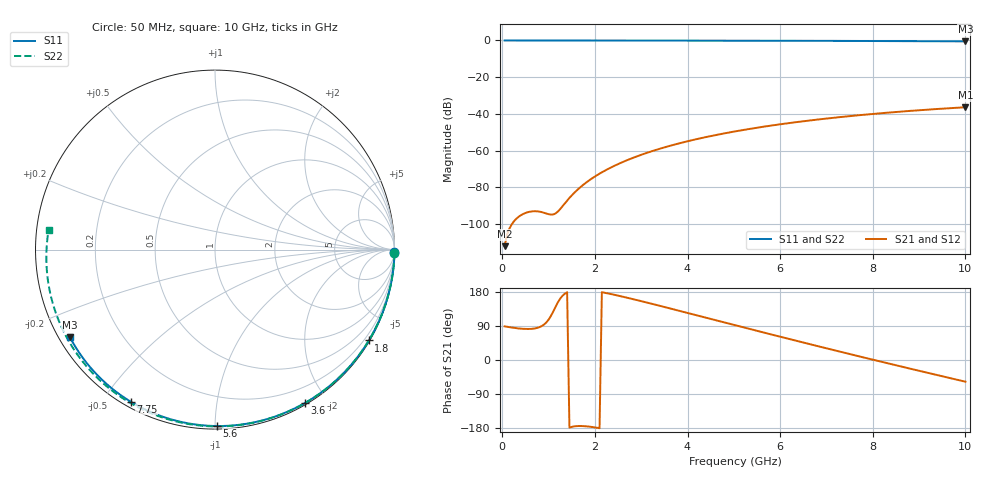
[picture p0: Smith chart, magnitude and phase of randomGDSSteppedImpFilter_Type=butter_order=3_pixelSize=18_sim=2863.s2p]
! freq	dB(S11)	phase(S11)	dB(S12)	phase(S12)
!  dB(S21)	phase(S21)	dB(S22)	phase(S22)
!S-par simulation data
#  GHz  S  DB  R 50
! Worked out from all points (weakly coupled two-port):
!   200 points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, 50 MHz to 10 GHz, reference 50 ohm
!   highest |S21| = -36.41 dB at 10 GHz (marker M1); lowest = -112.1 dB at 50 MHz (marker M2)
!   lowest |S11| = -0.5 dB at 10 GHz (marker M3), VSWR 34.89, Z = 1.54 - j13.9 ohm
!   |S11| at or under -10 dB: nowhere
!   |S22| runs from -0.6 to 0.0 dB; largest |S21 - S12| = 0
!   S11 on the Smith chart (normalised r, x): 50 MHz: open; 1.8 GHz: 0.03, -3.66; 3.6 GHz: 0.02, -1.75; 5.6 GHz: 0.02, -1.01; 7.75 GHz: 0.02, -0.59; 10 GHz: 0.03, -0.28
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0.05  -0.00 -0.9  -112.10 88.9  -112.10 88.9  -0.00 -1.1
0.4  -0.01 -6.9  -95.25 82.7  -95.25 82.7  -0.01 -8.6
0.8  -0.02 -13.7  -93.27 86.6  -93.27 86.6  -0.02 -17.1
1.2  -0.03 -20.5  -93.24 152.1  -93.24 152.1  -0.03 -25.5
1.65  -0.04 -28.1  -80.75 -174.2  -80.75 -174.2  -0.04 -34.8
1.7  -0.04 -28.9  -79.66 -174.2  -79.66 -174.2  -0.05 -35.8
1.75  -0.04 -29.7  -78.62 -174.4  -78.62 -174.4  -0.05 -36.8
1.8  -0.04 -30.6  -77.64 -174.8  -77.64 -174.8  -0.05 -37.9
2.1  -0.05 -35.5  -72.59 -180.0  -72.59 -180.0  -0.06 -44.0
2.5  -0.05 -42.1  -67.37 169.9  -67.37 169.9  -0.07 -52.0
2.9  -0.06 -48.5  -63.23 158.3  -63.23 158.3  -0.08 -59.9
3.4  -0.08 -56.5  -59.02 143.0  -59.02 143.0  -0.09 -69.6
3.6  -0.08 -59.6  -57.56 136.8  -57.56 136.8  -0.10 -73.4
4.3  -0.10 -70.3  -53.19 114.7  -53.19 114.7  -0.12 -86.5
5.05  -0.13 -81.5  -49.45 91.1  -49.45 91.1  -0.15 -100.0
5.6  -0.15 -89.5  -47.16 73.9  -47.16 73.9  -0.18 -109.7
6.15  -0.17 -97.2  -45.17 56.8  -45.17 56.8  -0.21 -119.2
6.7  -0.20 -104.8  -43.42 39.9  -43.42 39.9  -0.25 -128.7
7.75  -0.28 -119.0  -40.63 8.3  -40.63 8.3  -0.34 -146.5
8.35  -0.33 -127.0  -39.29 -9.5  -39.29 -9.5  -0.40 -156.9
9.2  -0.41 -138.2  -37.67 -34.3  -37.67 -34.3  -0.49 -171.8
10  -0.50 -148.8  -36.41 -57.3  -36.41 -57.3  -0.60 173.4
